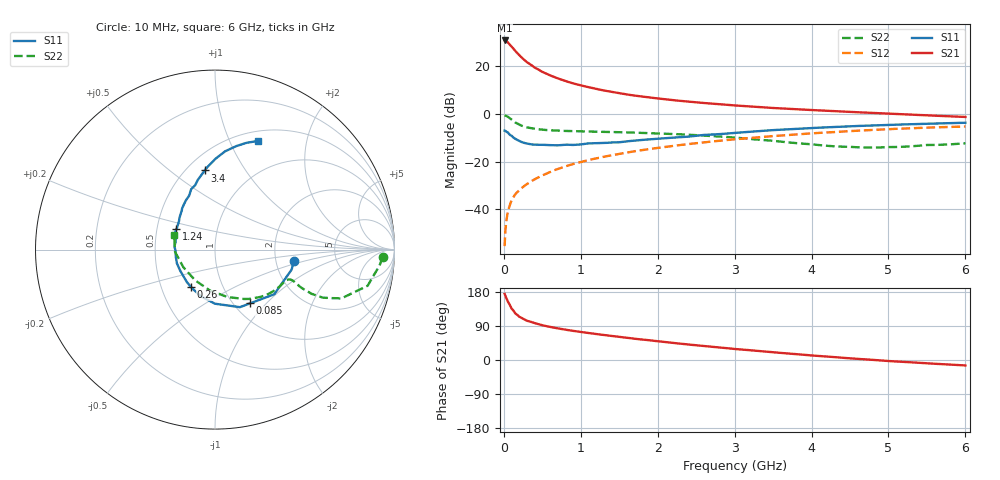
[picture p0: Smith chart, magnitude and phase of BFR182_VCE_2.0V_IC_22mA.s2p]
! Infineon Technologies  Discrete & RF Semiconductors
! BFR182
! VCE =  2.0 V,  IC =  22 mA
! Common Emitter S-Parameters:  Nov 2015
# GHz  S  MA  R  50
!  f  S11  S21  S12  S22
! GHz  MAG  ANG  MAG  ANG  MAG  ANG  MAG  ANG
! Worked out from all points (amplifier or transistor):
!   210 points, 10 MHz to 6 GHz, reference 50 ohm
!   highest |S21| = 30.7 dB at 10 MHz (marker M1)
!   |S21| within 3 dB of that: start of sweep to 113 MHz
!   unconditionally stable (mu >= 1): 392.8 MHz to 2.642 GHz
!   at 185 MHz: K = 0.77, MSG = 28.8 dB, |S12| = -32.4 dB
!   at 1.52 GHz: K = 1.08, MAG = 10.9 dB, |S12| = -16.6 dB
!   at 6 GHz: K = 0.92, MSG = 2.0 dB, |S12| = -5.3 dB
!   S11 on the Smith chart (normalised r, x): 10 MHz: 2.53, -0.39; 85 MHz: 1.19, -0.81; 260 MHz: 0.71, -0.32; 1.24 GHz: 0.63, +0.15; 3.4 GHz: 0.61, +0.67; 6 GHz: 0.61, +1.28
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0.01  0.4449 -7.9  34.36 174.5  0.0017 84.4  0.9353 -2.6
0.02  0.4411 -14.7  33.87 169.0  0.0036 83.3  0.9207 -5.6
0.05  0.4134 -37.0  31.59 154.7  0.0086 78.0  0.8741 -13.3
0.085  0.3578 -56.7  27.19 142.4  0.0133 71.9  0.7894 -18.5
0.1  0.3495 -66.6  25.78 136.0  0.0154 70.5  0.7554 -21.1
0.15  0.3015 -90.0  20.6 122.8  0.0209 68.4  0.6581 -24.0
0.2  0.2722 -106.2  16.86 114.4  0.0252 70.3  0.5927 -24.6
0.26  0.2481 -122.2  13.7 107.5  0.0305 70.1  0.5429 -24.1
0.3  0.2392 -131.0  12.08 103.6  0.0339 71.0  0.5209 -23.7
0.4  0.2269 -148.1  9.34 97.1  0.0426 72.7  0.4848 -22.4
0.5  0.2257 -160.0  7.566 91.5  0.0513 73.5  0.465 -21.7
0.7  0.2196 -177.9  5.53 83.4  0.07 73.7  0.4449 -21.9
0.84  0.2253 172.9  4.643 78.7  0.0832 73.1  0.4371 -22.6
1.02  0.2313 161.9  3.873 73.4  0.0999 72.7  0.4292 -24.2
1.24  0.244 151.8  3.233 67.5  0.1209 71.3  0.4214 -26.7
1.6  0.2665 137.8  2.544 58.5  0.1548 68.6  0.4092 -31.7
2.02  0.3029 125.4  2.082 49.1  0.1956 64.8  0.3897 -38.8
3.1  0.4103 102.1  1.463 27.5  0.3024 53.3  0.3082 -62.3
3.4  0.4445 97.4  1.359 22.2  0.3322 49.8  0.2803 -71.8
4.1  0.5138 88.6  1.18 10.6  0.399 41.2  0.2219 -101.1
5.1  0.5943 77.4  0.995 -3.8  0.486 28.1  0.2024 -156.4
6  0.6512 68.3  0.861 -14.4  0.5434 15.2  0.2418 160.2
